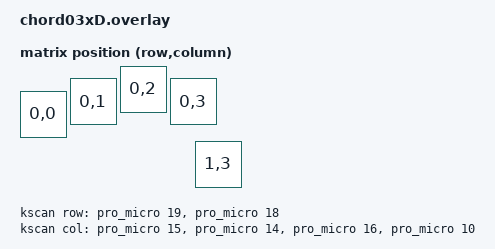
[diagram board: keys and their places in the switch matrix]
#include <dt-bindings/zmk/matrix_transform.h> 

/ {
    kscan: kscan {
        compatible = "zmk,kscan-gpio-matrix";
        diode-direction = "col2row";
        
        col-gpios
	    = <&pro_micro 15 GPIO_ACTIVE_HIGH> //6 or 15
	    , <&pro_micro 14 GPIO_ACTIVE_HIGH> //7 or 14
	    , <&pro_micro 16 GPIO_ACTIVE_HIGH>//8 or 16
	    , <&pro_micro 10 GPIO_ACTIVE_HIGH>//9 or 10
	    ;
	
        row-gpios
	    = <&pro_micro 19 (GPIO_ACTIVE_HIGH | GPIO_PULL_DOWN)> //4 or 19
	    , <&pro_micro 18 (GPIO_ACTIVE_HIGH | GPIO_PULL_DOWN)> //5 or 18
	    ;

    };
    
    default_transform: matrix_transform {
        compatible = "zmk,matrix-transform";
        columns = <4>;
        rows = <2>;
        map = <
            RC(0,0) RC(0,1) RC(0,2) RC(0,3)
                                                     RC(1,3)
        >;
    };
    
    physical_layout: physical_layout { // First physical layout, use different naming for other layouts
        compatible = "zmk,physical-layout";
        display-name = "Default Layout";
        kscan = <&kscan>; // Label of the kscan node, optional if all layouts use the same
        transform = <&default_transform>; // Label of the matrix transform for this layout
        keys  //                     w   h     x    y     rot    rx    ry
            = <&key_physical_attrs 100 100     0   50       0     0     0> // Row 1
            , <&key_physical_attrs 100 100   100   25       0     0     0>
            , <&key_physical_attrs 100 100   200    0       0     0     0>
            , <&key_physical_attrs 100 100   300   25       0     0     0>
            , <&key_physical_attrs 100 100   350   150       0     0     0>
            ;
    };
    };
    
    
    chosen {
        zmk,physical-layout = &physical_layout;
    };
};
